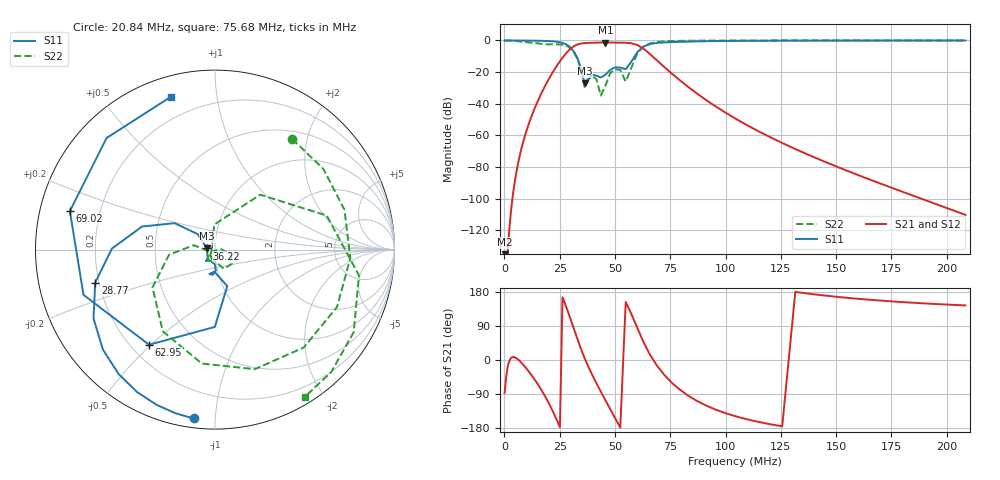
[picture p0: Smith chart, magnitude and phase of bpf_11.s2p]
! NeoRadio BPF 11: 40-54 MHz, selected in the bank
! generated_by 859cd57
# HZ S RI R 50
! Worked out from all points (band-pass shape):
!   182 points, 50 kHz to 208.4 MHz, reference 50 ohm
!   highest |S21| = -1.30 dB at 45.6 MHz (marker M1); lowest = -198.2 dB at 151 kHz (marker M2)
!   |S21| within 3 dB of the highest: 30.75 MHz to 61.77 MHz (31.01 MHz wide, 67 % of centre)
!   lowest |S11| = -27.0 dB at 36.22 MHz (marker M3), VSWR 1.09, Z = 45.8 + j0.596 ohm
!   |S11| at or under -10 dB: 32.51 MHz to 58.91 MHz (26.4 MHz wide, 57.8 % of centre)
!   |S22| runs from -34.8 to 0.0 dB; largest |S21 - S12| = 0
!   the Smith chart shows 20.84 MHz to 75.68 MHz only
!   S11 on the Smith chart (normalised r, x): 20.84 MHz: 0.05, -0.88; 28.77 MHz: 0.19, -0.13; 36.22 MHz: 0.92, +0.01; 62.95 MHz: 0.27, -0.49; 69.02 MHz: 0.09, +0.13; 75.68 MHz: 0.09, +0.75
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50000  1 -0.00361  2.46e-13 -4.41e-12  2.46e-13 -4.41e-12  0.9999 -0.0128
150997.6  0.9999 -0.0109  2.04e-11 -1.21e-10  2.04e-11 -1.21e-10  0.9992 -0.0385
208434.7  0.9999 -0.015  7.43e-11 -3.17e-10  7.43e-11 -3.17e-10  0.9985 -0.0532
829793.5  0.9982 -0.0599  1.92e-08 -1.74e-08  1.92e-08 -1.74e-08  0.9765 -0.2099
3303467  0.9708 -0.2365  6.91e-06 8.02e-07  6.91e-06 8.02e-07  0.6586 -0.7274
5740768  0.912 -0.4042  9.5e-05 5.32e-06  9.5e-05 5.32e-06  0.1358 -0.9395
1.315134e7  0.5436 -0.8221  0.00397 -0.00435  0.00397 -0.00435  -0.8266 0.00875
2.084347e7  -0.1196 -0.9407  -0.0416 -0.0635  -0.0416 -0.0635  0.4299 0.6166
2.39315e7  -0.4332 -0.7943  -0.1607 -0.0526  -0.1607 -0.0526  0.7541 -0.0466
2.8772e7  -0.6673 -0.1836  -0.2729 0.3729  -0.2729 0.3729  -0.0731 -0.635
3.303467e7  -0.2246 0.1474  0.4437 0.6022  0.4437 0.6022  -0.2558 -0.0285
3.62218e7  -0.0442 0.0065  0.8229 0.0722  0.8229 0.0722  -0.0322 -0.01
4.560054e7  -0.00097 -0.0823  -0.2354 -0.8287  -0.2354 -0.8287  0.0368 0.00181
5.235643e7  -0.0314 -0.1352  -0.853 -0.0225  -0.853 -0.0225  0.0485 -0.1067
5.482391e7  -0.00273 -0.1236  -0.756 0.3805  -0.756 0.3805  -0.0233 -0.0444
6.294627e7  -0.3671 -0.5301  0.3757 0.393  0.3757 0.393  0.6223 0.1897
6.901921e7  -0.8085 0.2144  0.2235 -0.0621  0.2235 -0.0621  0.7728 -0.46
7.567806e7  -0.2444 0.8525  0.0449 -0.0777  0.0449 -0.0777  0.4989 -0.8219
8.689004e7  0.7321 0.5792  -0.00646 -0.0205  -0.00646 -0.0205  0.0941 -0.9807
9.976312e7  0.9566 -0.125  -0.00408 -0.00343  -0.00408 -0.00343  -0.2007 -0.972
1.509976e8  0.1643 -0.9806  -9.55e-05 2.33e-05  -9.55e-05 2.33e-05  -0.6736 -0.736
2.084347e8  -0.3495 -0.9347  -2.5e-06 1.82e-06  -2.5e-06 1.82e-06  -0.8322 -0.5514
